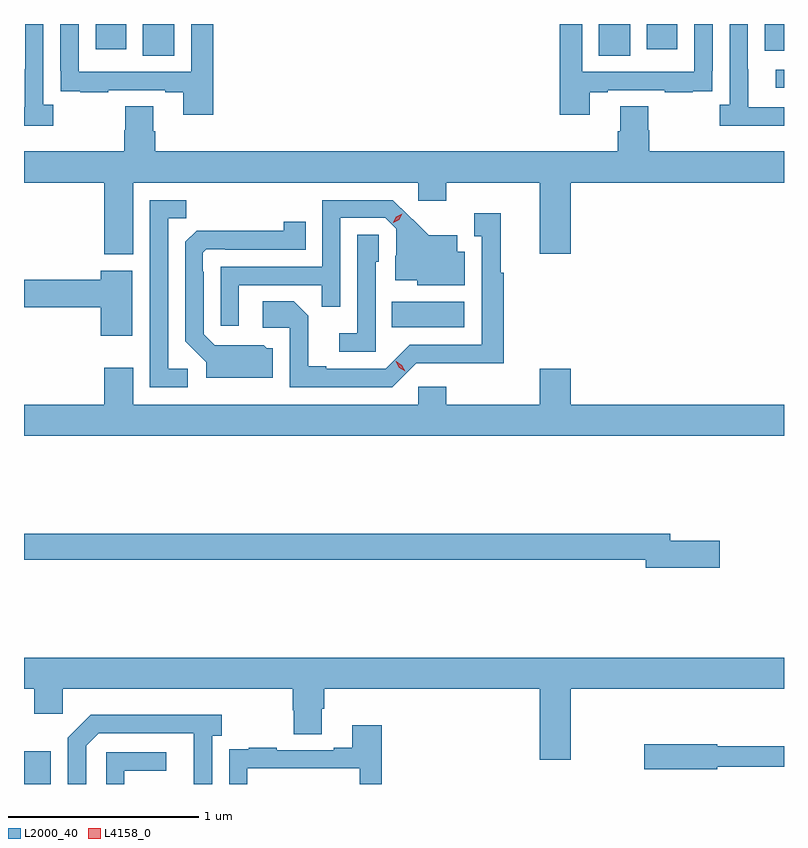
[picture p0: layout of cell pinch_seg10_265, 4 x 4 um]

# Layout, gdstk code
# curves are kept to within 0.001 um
import gdstk
lib = gdstk.Library(unit=1e-6, precision=1e-09)
def R(c, l, rs):  # rectangles x0, y0, x1, y1
    for r in rs: c.add(gdstk.rectangle(r[:2], r[2:], *l))
def P(c, l, *ps):  # polygons
    for p in ps: c.add(gdstk.Polygon(p, *l))
L2000_40 = (2000, 40)
L4158_0 = (4158, 0)

pinch_seg10_265 = lib.new_cell('pinch_seg10_265')
R(pinch_seg10_265, L2000_40, [(509.946,1291.823,510.088,1291.995), (511.882,1294.226,512.263,1294.36), (513.903,1295.487,513.946,1295.583), (510.572,1295.656,510.736,1295.823), (512.972,1295.656,513.136,1295.823), (513.845,1295.681,513.946,1295.823), (510.323,1295.691,510.484,1295.823), (513.224,1295.691,513.385,1295.823)])
P(pinch_seg10_265, L2000_40, [(510.941,1295.823),(510.825,1295.823),(510.825,1295.571),(510.234,1295.571),(510.234,1295.823),(510.138,1295.823),(510.138,1295.578),(510.139,1295.578),(510.139,1295.469),(510.241,1295.469),(510.241,1295.463),(510.389,1295.463),(510.389,1295.475),(510.689,1295.475),(510.689,1295.463),(510.785,1295.463),(510.785,1295.346),(510.941,1295.346)],
  [(512.923,1295.463),(513.019,1295.463),(513.019,1295.475),(513.319,1295.475),(513.319,1295.463),(513.467,1295.463),(513.467,1295.469),(513.569,1295.469),(513.569,1295.578),(513.57,1295.578),(513.57,1295.823),(513.474,1295.823),(513.474,1295.571),(512.883,1295.571),(512.883,1295.823),(512.767,1295.823),(512.767,1295.346),(512.923,1295.346)],
  [(513.946,1295.385),(513.757,1295.385),(513.757,1295.585),(513.756,1295.585),(513.756,1295.823),(513.66,1295.823),(513.66,1295.398),(513.609,1295.398),(513.609,1295.288),(513.946,1295.288)],
  [(510.1,1295.398),(510.048,1295.398),(510.048,1295.823),(509.952,1295.823),(509.952,1295.585),(509.951,1295.585),(509.951,1295.385),(509.946,1295.385),(509.946,1295.288),(510.1,1295.288)],
  [(510.52,1294.988),(512.022,1294.988),(512.022,1294.893),(512.169,1294.893),(512.169,1294.988),(512.66,1294.988),(512.66,1294.614),(512.824,1294.614),(512.824,1294.988),(513.946,1294.988),(513.946,1295.152),(513.236,1295.152),(513.236,1295.265),(513.231,1295.265),(513.231,1295.39),(513.083,1295.39),(513.083,1295.258),(513.071,1295.258),(513.071,1295.152),(510.638,1295.152),(510.638,1295.258),(510.625,1295.258),(510.625,1295.39),(510.478,1295.39),(510.478,1295.265),(510.473,1295.265),(510.473,1295.152),(509.946,1295.152),(509.946,1294.988),(510.368,1294.988),(510.368,1294.61),(510.52,1294.61)],
  [(510.808,1294.008),(510.705,1294.008),(510.705,1294.801),(510.801,1294.801),(510.801,1294.896),(510.609,1294.896),(510.609,1293.912),(510.808,1293.912)],
  [(511.077,1294.449),(511.513,1294.449),(511.513,1294.336),(511.611,1294.336),(511.611,1294.803),(511.848,1294.803),(511.905,1294.746),(511.905,1294.604),(511.901,1294.604),(511.901,1294.475),(512.016,1294.475),(512.016,1294.448),(512.266,1294.448),(512.266,1294.624),(512.227,1294.624),(512.227,1294.711),(512.075,1294.711),(511.888,1294.896),(511.515,1294.896),(511.515,1294.545),(510.981,1294.545),(510.981,1294.236),(511.077,1294.236)],
  [(512.01,1294.038),(512.472,1294.037),(512.472,1294.515),(512.455,1294.515),(512.455,1294.828),(512.315,1294.828),(512.315,1294.707),(512.354,1294.707),(512.354,1294.134),(511.977,1294.134),(511.851,1294.008),(511.537,1294.008),(511.537,1294.021),(511.443,1294.021),(511.443,1294.288),(511.367,1294.364),(511.203,1294.364),(511.203,1294.224),(511.344,1294.224),(511.344,1293.912),(511.884,1293.912)],
  [(511.255,1294.116),(511.224,1294.116),(511.208,1294.132),(510.951,1294.131),(510.891,1294.191),(510.891,1294.52),(510.888,1294.52),(510.888,1294.62),(510.906,1294.638),(511.006,1294.638),(511.006,1294.635),(511.43,1294.635),(511.43,1294.783),(511.312,1294.783),(511.312,1294.736),(510.854,1294.735),(510.795,1294.676),(510.795,1294.154),(510.905,1294.044),(510.905,1293.962),(511.255,1293.962)],
  [(511.797,1294.572),(511.812,1294.572),(511.812,1294.715),(511.701,1294.715),(511.701,1294.195),(511.605,1294.195),(511.605,1294.098),(511.797,1294.098)],
  [(510.517,1294.525),(510.35,1294.525),(510.35,1294.478),(509.946,1294.478),(509.946,1294.331),(510.35,1294.331),(510.35,1294.182),(510.517,1294.182)],
  [(513.946,1293.82),(512.824,1293.82),(512.824,1294.009),(512.66,1294.009),(512.66,1293.82),(512.169,1293.82),(512.169,1293.913),(512.022,1293.913),(512.022,1293.82),(510.52,1293.82),(510.52,1294.015),(510.368,1294.015),(510.368,1293.82),(509.946,1293.82),(509.946,1293.656),(513.946,1293.656)],
  [(513.607,1293.104),(513.346,1293.104),(513.346,1293.14),(509.946,1293.14),(509.946,1293.004),(513.218,1293.004),(513.218,1292.962),(513.607,1292.962)],
  [(512.824,1292.324),(513.946,1292.324),(513.946,1292.488),(509.946,1292.488),(509.946,1292.324),(509.999,1292.324),(509.999,1292.193),(510.15,1292.193),(510.15,1292.324),(511.361,1292.324),(511.361,1292.211),(511.366,1292.211),(511.366,1292.086),(511.513,1292.086),(511.513,1292.218),(511.526,1292.218),(511.526,1292.324),(512.66,1292.324),(512.66,1291.95),(512.824,1291.95)],
  [(510.273,1292.025),(510.339,1292.091),(510.839,1292.091),(510.84,1291.823),(510.936,1291.823),(510.936,1292.078),(510.988,1292.078),(510.988,1292.188),(510.298,1292.188),(510.177,1292.067),(510.177,1291.823),(510.273,1291.823)],
  [(511.122,1291.905),(511.713,1291.905),(511.713,1291.823),(511.829,1291.823),(511.829,1292.131),(511.673,1292.131),(511.673,1292.014),(511.577,1292.014),(511.577,1292.001),(511.277,1292.001),(511.277,1292.014),(511.129,1292.014),(511.129,1292.007),(511.027,1292.007),(511.027,1291.898),(511.026,1291.898),(511.026,1291.823),(511.122,1291.823)],
  [(513.594,1291.914),(513.946,1291.914),(513.946,1292.023),(513.594,1292.023),(513.594,1292.031),(513.21,1292.031),(513.21,1291.901),(513.594,1291.901)],
  [(510.474,1291.893),(510.694,1291.893),(510.694,1291.989),(510.378,1291.989),(510.378,1291.823),(510.474,1291.823)])
P(pinch_seg10_265, L4158_0, [(511.953,1293.996),(511.921,1294.014),(511.903,1294.047),(511.903,1294.047),(511.904,1294.047),(511.935,1294.028),(511.953,1293.996),(511.953,1293.996)],
  [(511.889,1294.778),(511.889,1294.779),(511.906,1294.808),(511.936,1294.824),(511.936,1294.824),(511.936,1294.824),(511.92,1294.794),(511.89,1294.778)])

lib.write_gds('pinch_seg10_265.gds')
